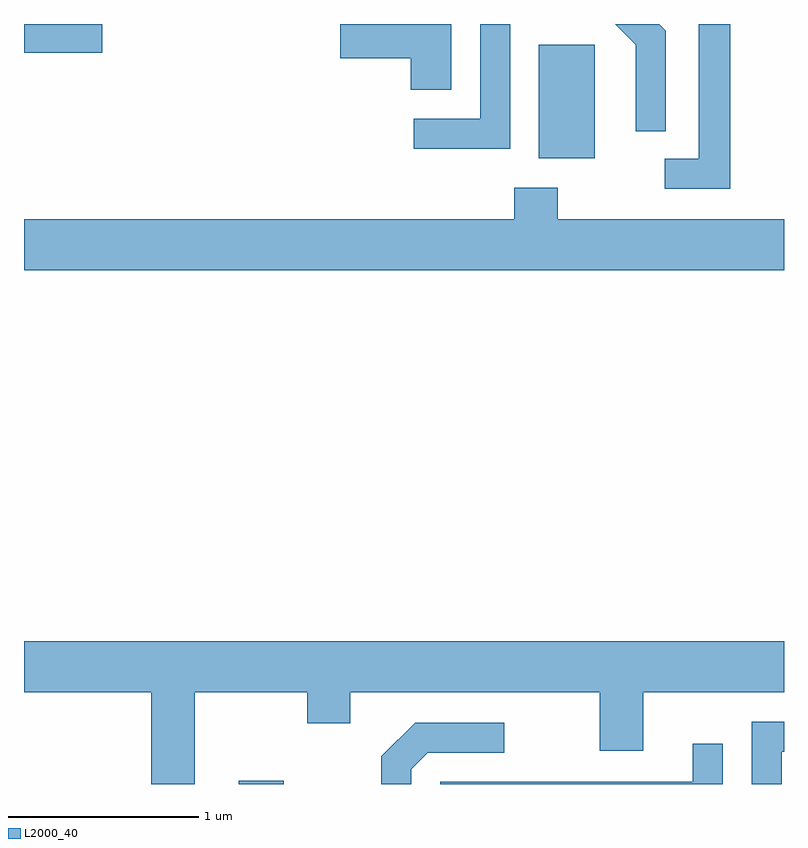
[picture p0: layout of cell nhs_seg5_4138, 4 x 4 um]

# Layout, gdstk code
import gdstk
lib = gdstk.Library(unit=1e-6, precision=1e-09)
def R(c, l, rs):  # rectangles x0, y0, x1, y1
    for r in rs: c.add(gdstk.rectangle(r[:2], r[2:], *l))
def P(c, l, *ps):  # polygons
    for p in ps: c.add(gdstk.Polygon(p, *l))
L2000_40 = (2000, 40)

nhs_seg5_4138 = lib.new_cell('nhs_seg5_4138')
R(nhs_seg5_4138, L2000_40, [(308.741,1474.072,308.978,1474.089), (310.321,1477.366,310.614,1477.964), (307.611,1477.921,308.024,1478.072)])
P(nhs_seg5_4138, L2000_40, [(310.169,1478.072),(310.011,1478.072),(310.011,1477.574),(309.663,1477.574),(309.663,1477.416),(310.169,1477.416)],
  [(310.989,1478.037),(310.954,1478.072),(310.723,1478.072),(310.831,1477.964),(310.831,1477.508),(310.989,1477.508)],
  [(311.329,1478.072),(311.161,1478.072),(311.161,1477.364),(310.983,1477.364),(310.983,1477.206),(311.329,1477.206)],
  [(309.859,1478.072),(309.276,1478.072),(309.276,1477.891),(309.646,1477.891),(309.646,1477.726),(309.859,1477.726)],
  [(311.611,1477.044),(310.419,1477.044),(310.419,1477.209),(310.191,1477.209),(310.191,1477.044),(307.611,1477.044),(307.611,1476.776),(311.611,1476.776)],
  [(308.509,1474.556),(309.101,1474.556),(309.101,1474.391),(309.329,1474.391),(309.329,1474.556),(310.641,1474.556),(310.641,1474.246),(310.869,1474.246),(310.869,1474.556),(311.611,1474.556),(311.611,1474.824),(307.611,1474.824),(307.611,1474.556),(308.281,1474.556),(308.281,1474.072),(308.509,1474.072)],
  [(311.599,1474.241),(311.611,1474.241),(311.611,1474.399),(311.441,1474.399),(311.441,1474.072),(311.599,1474.072)],
  [(309.649,1474.149),(309.737,1474.236),(310.138,1474.236),(310.138,1474.394),(309.669,1474.394),(309.491,1474.217),(309.491,1474.072),(309.649,1474.072)],
  [(311.289,1474.283),(311.131,1474.283),(311.131,1474.084),(309.801,1474.084),(309.801,1474.072),(311.289,1474.072)])

lib.write_gds('nhs_seg5_4138.gds')
